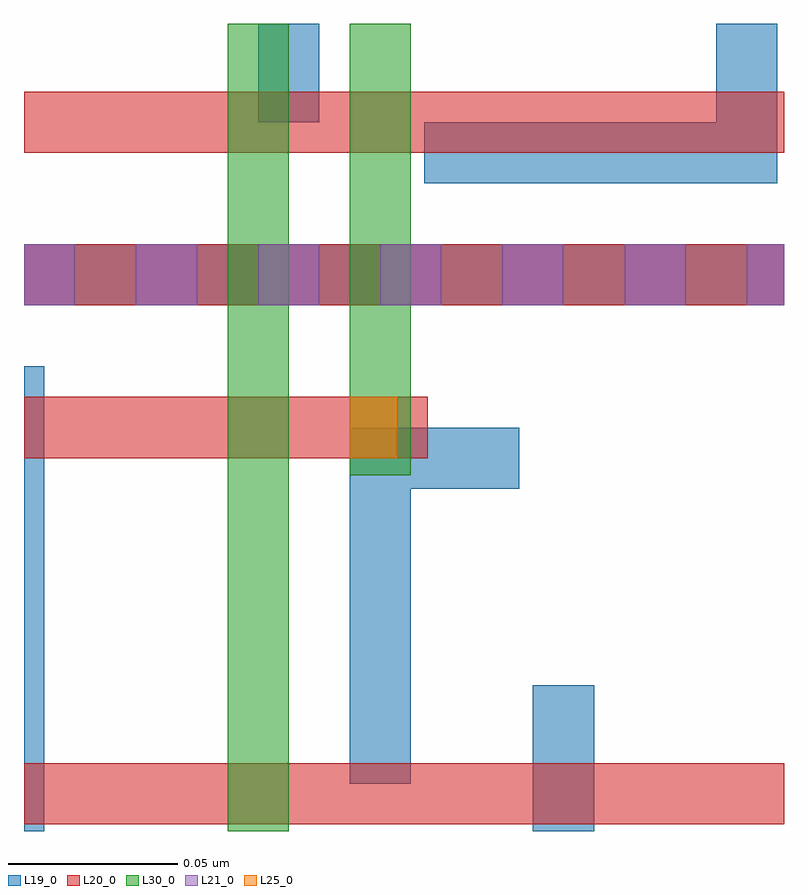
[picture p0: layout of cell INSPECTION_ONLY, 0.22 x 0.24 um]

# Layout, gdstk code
import gdstk
lib = gdstk.Library(unit=1e-6, precision=2.5e-10)
def R(c, l, rs):  # rectangles x0, y0, x1, y1
    for r in rs: c.add(gdstk.rectangle(r[:2], r[2:], *l))
def A(c, l, x, y, w, h, nx, ny, dx, dy):  # array of equal rectangles
    R(c, l, [(x+i*dx, y+j*dy, x+i*dx+w, y+j*dy+h) for i in range(nx) for j in range(ny)])
def P(c, l, *ps):  # polygons
    for p in ps: c.add(gdstk.Polygon(p, *l))
L19_0 = (19, 0)
L20_0 = (20, 0)
L21_0 = (21, 0)
L25_0 = (25, 0)
L30_0 = (30, 0)

inspection_only = lib.new_cell('INSPECTION_ONLY')
R(inspection_only, L19_0, [(2.244,1.996,2.25,2.133), (2.394,1.996,2.412,2.039), (2.244,2.151,2.468,2.169), (2.244,2.151,2.468,2.169), (2.244,2.151,2.468,2.169), (2.244,2.151,2.268,2.169), (2.268,2.151,2.468,2.169), (2.313,2.205,2.331,2.234)])
P(inspection_only, L19_0, [(2.362,2.187),(2.362,2.205),(2.448,2.205),(2.448,2.234),(2.466,2.234),(2.466,2.187)],
  [(2.34,2.01),(2.34,2.115),(2.39,2.115),(2.39,2.097),(2.358,2.097),(2.358,2.01)])
R(inspection_only, L20_0, [(2.244,1.998,2.468,2.016), (2.244,2.106,2.363,2.124), (2.244,2.151,2.468,2.169), (2.244,2.196,2.468,2.214)])
A(inspection_only, L21_0, 2.277, 2.151, 0.018, 0.018, 5, 1, 0.036, 0)
R(inspection_only, L21_0, [(2.244,2.151,2.259,2.169), (2.457,2.151,2.468,2.169)])
R(inspection_only, L25_0, [(2.34,2.106,2.354,2.124)])
R(inspection_only, L30_0, [(2.304,1.996,2.322,2.234), (2.34,2.101,2.358,2.234)])

lib.write_gds('INSPECTION_ONLY.gds')
